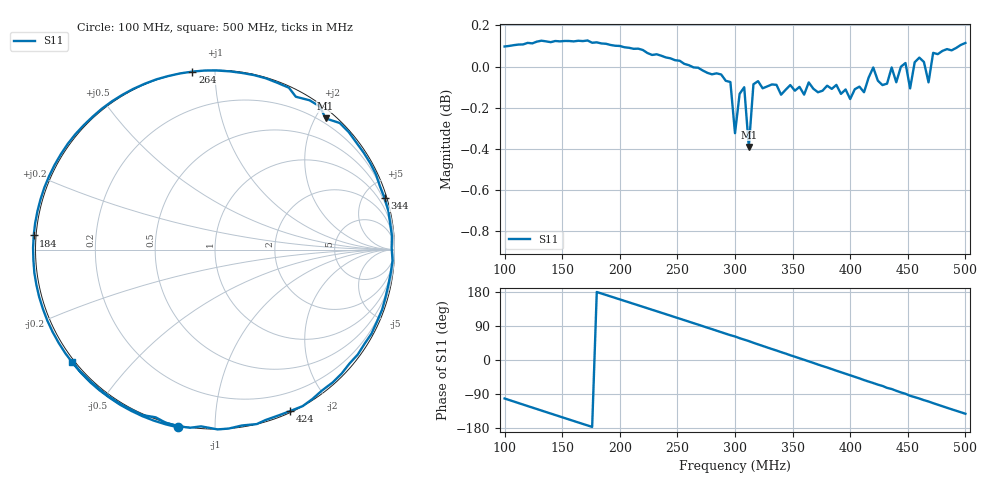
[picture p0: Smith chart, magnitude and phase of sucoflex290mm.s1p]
# HZ S RI R 50
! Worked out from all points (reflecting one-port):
!   101 points, 100 MHz to 500 MHz, reference 50 ohm
!   lowest |S11| = -0.4 dB at 312 MHz (marker M1), VSWR 44.43, Z = 6.32 + j107 ohm
!   phase of S11 starts at -102 deg and turns -400 deg over the sweep
!   S11 on the Smith chart (normalised r, x): 100 MHz: -0.01, -0.82; 184 MHz: -0.01, +0.04; 264 MHz: 0.00, +0.88; 344 MHz: 0.30, +6.71; 424 MHz: 0.01, -1.57; 500 MHz: -0.01, -0.35
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1e8  -0.2036 -0.9906
1.24e8  -0.5878 -0.8251
1.36e8  -0.7458 -0.6873
1.52e8  -0.9046 -0.4591
1.68e8  -0.995 -0.1971
1.84e8  -1.01 0.0787
2e8  -0.9504 0.3466
2.16e8  -0.8211 0.5883
2.28e8  -0.6817 0.7405
2.52e8  -0.3281 0.9481
2.64e8  -0.1263 0.9915
2.84e8  0.217 0.9723
3e8  0.4504 0.8516
3.08e8  0.5845 0.7971
3.12e8  0.6161 0.7309
3.16e8  0.6949 0.7053
3.28e8  0.8287 0.5396
3.44e8  0.9444 0.2872
3.52e8  0.9754 0.1482
3.64e8  0.9892 -0.0622
3.8e8  0.9309 -0.3349
4e8  0.749 -0.635
4.24e8  0.4189 -0.8994
4.44e8  0.0769 -0.9969
4.52e8  -0.0775 -0.9848
4.6e8  -0.2036 -0.9842
4.72e8  -0.4079 -0.9215
5e8  -0.7968 -0.6259
